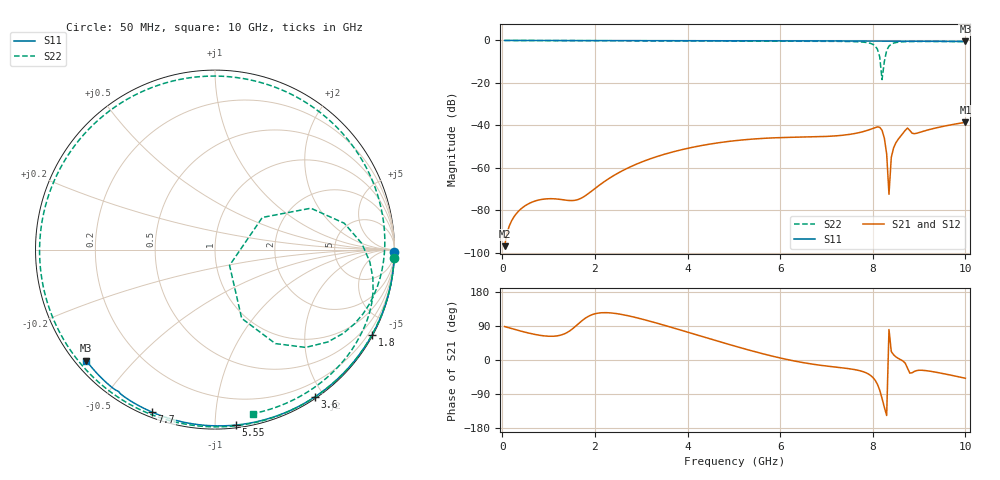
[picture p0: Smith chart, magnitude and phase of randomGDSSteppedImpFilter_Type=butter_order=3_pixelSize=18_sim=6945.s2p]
! freq	dB(S11)	phase(S11)	dB(S12)	phase(S12)
!  dB(S21)	phase(S21)	dB(S22)	phase(S22)
!S-par simulation data
#  GHz  S  DB  R 50
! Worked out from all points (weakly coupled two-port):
!   200 points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, 50 MHz to 10 GHz, reference 50 ohm
!   highest |S21| = -38.56 dB at 10 GHz (marker M1); lowest = -96.9 dB at 50 MHz (marker M2)
!   lowest |S11| = -0.5 dB at 10 GHz (marker M3), VSWR 36.79, Z = 1.55 - j18.5 ohm
!   |S11| at or under -10 dB: nowhere
!   |S22| runs from -18.4 to 0.0 dB; largest |S21 - S12| = 0
!   S11 on the Smith chart (normalised r, x): 50 MHz: open; 1.8 GHz: 0.03, -3.93; 3.6 GHz: 0.02, -1.89; 5.55 GHz: 0.02, -1.13; 7.7 GHz: 0.02, -0.69; 10 GHz: 0.03, -0.37
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0.05  -0.00 -0.8  -96.93 88.3  -96.93 88.3  -0.00 -2.8
0.95  -0.02 -15.2  -74.63 63.1  -74.63 63.1  -0.07 -51.8
1.75  -0.04 -27.8  -73.76 106.5  -73.76 106.5  -0.11 -92.8
1.8  -0.04 -28.6  -73.06 110.9  -73.06 110.9  -0.11 -95.3
2.65  -0.05 -41.6  -60.75 118.5  -60.75 118.5  -0.15 -135.6
3.4  -0.07 -52.9  -54.29 95.1  -54.29 95.1  -0.19 -169.6
3.6  -0.07 -55.8  -53.00 88.1  -53.00 88.1  -0.20 -178.5
5.05  -0.12 -76.4  -47.17 35.7  -47.17 35.7  -0.27 115.7
5.55  -0.14 -83.2  -46.25 18.9  -46.25 18.9  -0.29 92.4
6.7  -0.19 -98.4  -45.43 -11.0  -45.43 -11.0  -0.35 37.9
7.7  -0.25 -111.1  -43.46 -27.7  -43.46 -27.7  -0.65 -12.8
7.95  -0.27 -114.2  -41.86 -40.4  -41.86 -40.4  -1.37 -33.1
8.1  -0.29 -116.1  -40.73 -63.9  -40.73 -63.9  -4.12 -57.3
8.15  -0.29 -116.7  -40.90 -79.7  -40.90 -79.7  -7.72 -68.8
8.2  -0.29 -117.3  -42.31 -101.2  -42.31 -101.2  -18.44 -47.4
8.3  -0.30 -118.6  -53.46 -146.4  -53.46 -146.4  -4.71 23.4
8.35  -0.31 -119.2  -72.48 80.4  -72.48 80.4  -2.67 11.5
8.4  -0.31 -119.8  -55.05 22.4  -55.05 22.4  -1.74 2.4
8.45  -0.32 -120.5  -50.59 13.7  -50.59 13.7  -1.25 -4.6
8.75  -0.39 -124.2  -41.27 -21.3  -41.27 -21.3  -0.55 -28.5
8.9  -0.37 -125.8  -43.93 -30.0  -43.93 -30.0  -0.49 -36.1
10  -0.47 -139.3  -38.56 -48.1  -38.56 -48.1  -0.56 -77.0
